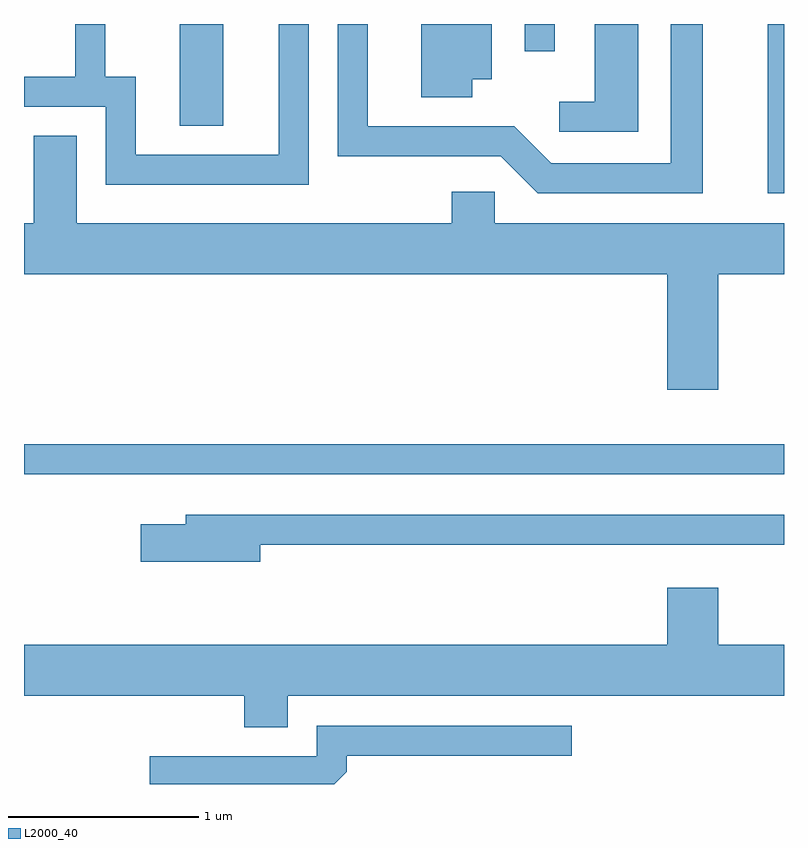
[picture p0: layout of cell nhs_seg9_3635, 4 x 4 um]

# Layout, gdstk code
import gdstk
lib = gdstk.Library(unit=1e-6, precision=1e-09)
def R(c, l, rs):  # rectangles x0, y0, x1, y1
    for r in rs: c.add(gdstk.rectangle(r[:2], r[2:], *l))
def P(c, l, *ps):  # polygons
    for p in ps: c.add(gdstk.Polygon(p, *l))
L2000_40 = (2000, 40)

nhs_seg9_3635 = lib.new_cell('nhs_seg9_3635')
R(nhs_seg9_3635, L2000_40, [(291.611,2024.061,295.611,2024.219), (295.526,2025.541,295.611,2026.432), (292.431,2025.896,292.659,2026.432), (294.246,2026.288,294.404,2026.432)])
P(nhs_seg9_3635, L2000_40, [(295.184,2026.432),(295.016,2026.432),(295.016,2025.699),(294.387,2025.699),(294.192,2025.894),(293.419,2025.894),(293.419,2026.432),(293.261,2026.432),(293.261,2025.736),(294.119,2025.736),(294.314,2025.541),(295.184,2025.541)],
  [(293.109,2026.432),(292.951,2026.432),(292.951,2025.744),(292.199,2025.744),(292.199,2026.154),(292.039,2026.154),(292.039,2026.432),(291.881,2026.432),(291.881,2026.154),(291.611,2026.154),(291.611,2025.996),(292.041,2025.996),(292.041,2025.586),(293.109,2025.586)],
  [(293.969,2026.141),(294.074,2026.141),(294.074,2026.432),(293.701,2026.432),(293.701,2026.046),(293.969,2026.046)],
  [(294.844,2026.432),(294.616,2026.432),(294.616,2026.024),(294.428,2026.024),(294.428,2025.866),(294.844,2025.866)],
  [(295.264,2025.116),(295.611,2025.116),(295.611,2025.384),(294.089,2025.384),(294.089,2025.549),(293.861,2025.549),(293.861,2025.384),(291.889,2025.384),(291.889,2025.844),(291.661,2025.844),(291.661,2025.384),(291.611,2025.384),(291.611,2025.116),(294.996,2025.116),(294.996,2024.506),(295.264,2024.506)],
  [(292.854,2023.691),(295.611,2023.691),(295.611,2023.849),(292.461,2023.849),(292.461,2023.799),(292.226,2023.799),(292.226,2023.601),(292.854,2023.601)],
  [(292.999,2022.896),(295.611,2022.896),(295.611,2023.164),(295.264,2023.164),(295.264,2023.464),(294.996,2023.464),(294.996,2023.164),(291.611,2023.164),(291.611,2022.896),(292.771,2022.896),(292.771,2022.731),(292.999,2022.731)],
  [(293.309,2022.497),(293.309,2022.581),(294.493,2022.581),(294.493,2022.739),(293.151,2022.739),(293.151,2022.579),(292.273,2022.579),(292.273,2022.432),(293.245,2022.432)])

lib.write_gds('nhs_seg9_3635.gds')
